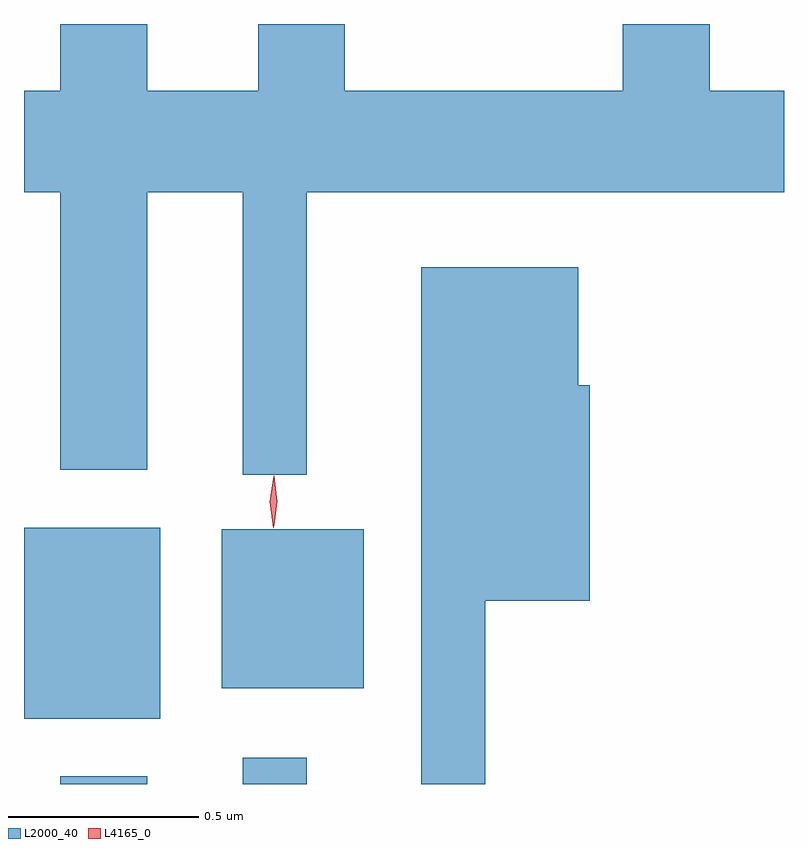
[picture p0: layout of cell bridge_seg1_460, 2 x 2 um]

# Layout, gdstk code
import gdstk
lib = gdstk.Library(unit=1e-6, precision=1e-09)
def R(c, l, rs):  # rectangles x0, y0, x1, y1
    for r in rs: c.add(gdstk.rectangle(r[:2], r[2:], *l))
def P(c, l, *ps):  # polygons
    for p in ps: c.add(gdstk.Polygon(p, *l))
L2000_40 = (2000, 40)
L4165_0 = (4165, 0)

bridge_seg1_460 = lib.new_cell('bridge_seg1_460')
R(bridge_seg1_460, L2000_40, [(233.001,851.399,233.229,851.419), (233.481,851.399,233.649,851.468), (232.905,851.571,233.264,852.074), (233.426,851.651,233.799,852.069)])
P(bridge_seg1_460, L2000_40, [(233.649,852.956),(234.905,852.956),(234.905,853.224),(234.709,853.224),(234.709,853.399),(234.481,853.399),(234.481,853.224),(233.749,853.224),(233.749,853.399),(233.521,853.399),(233.521,853.224),(233.229,853.224),(233.229,853.399),(233.001,853.399),(233.001,853.224),(232.905,853.224),(232.905,852.956),(233.001,852.956),(233.001,852.226),(233.229,852.226),(233.229,852.956),(233.481,852.956),(233.481,852.213),(233.649,852.213)],
  [(234.119,851.881),(234.394,851.881),(234.394,852.449),(234.364,852.449),(234.364,852.759),(233.951,852.759),(233.951,851.399),(234.119,851.399)])
P(bridge_seg1_460, L4165_0, [(233.562,852.078),(233.562,852.079),(233.552,852.142),(233.562,852.206),(233.562,852.207),(233.563,852.206),(233.572,852.142),(233.563,852.079)],
  [(233.561,852.074),(233.552,852.142),(233.562,852.21),(233.562,852.21),(233.563,852.21),(233.572,852.142),(233.562,852.074),(233.562,852.074)])

lib.write_gds('bridge_seg1_460.gds')
